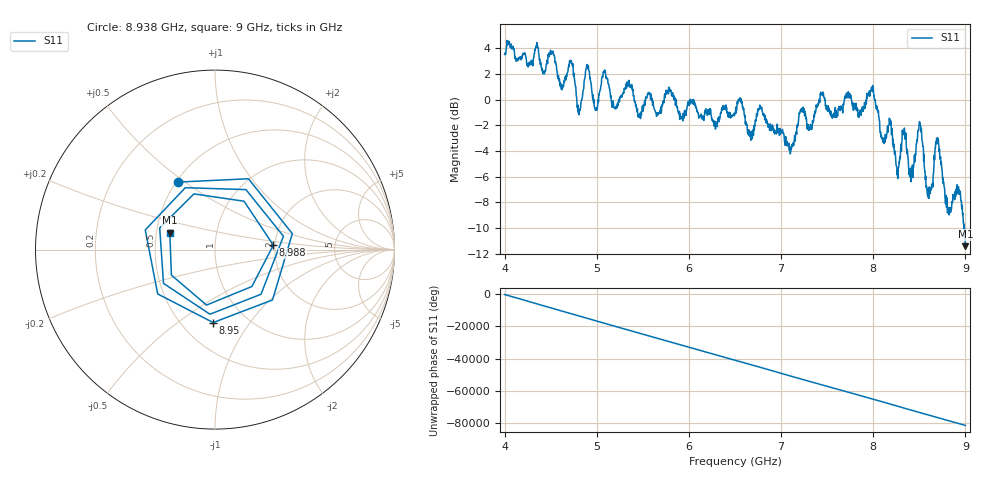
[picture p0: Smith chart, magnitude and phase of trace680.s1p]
! Created with skrf 1.8.0 (http://scikit-rf.org).
# Hz S RI R 50.0
!freq ReS11 ImS11
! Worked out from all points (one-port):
!   1601 points, 4 GHz to 9 GHz, reference 50 ohm
!   lowest |S11| = -11.4 dB at 9 GHz (marker M1), VSWR 1.74, Z = 29.4 + j6.01 ohm
!   |S11| at or under -10 dB: 8.983676 GHz to 8.984651 GHz (974.3 kHz wide, 0.0108 % of centre); 8.988791 GHz to end of sweep
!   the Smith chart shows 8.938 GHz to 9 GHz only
!   S11 on the Smith chart (normalised r, x): 8.938 GHz: 0.51, +0.47; 8.95 GHz: 0.70, -0.69; 8.988 GHz: 1.96, +0.11; 9 GHz: 0.59, +0.12
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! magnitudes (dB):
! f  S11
! 4 GHz  3.5
! 4.519 GHz  3.6
! 4.625 GHz  0.8
! 4.716 GHz  3.1
! 4.809 GHz  -1.0
! 4.897 GHz  2.6
! 4.988 GHz  -0.8
! 5.078 GHz  2.2
! 5.25 GHz  0.2
! 5.875 GHz  -0.6
! 6.5 GHz  -1.1
! 7.125 GHz  -3.6
! 7.222 GHz  -0.8
! 7.309 GHz  -2.2
! 7.75 GHz  0.3
! 7.984 GHz  0.8
! 8.256 GHz  -5.3
! 8.334 GHz  -2.5
! 8.375 GHz  -4.4
! 8.419 GHz  -5.7
! 8.506 GHz  -2.0
! 8.597 GHz  -7.2
! 8.694 GHz  -3.4
! 8.819 GHz  -8.8
! 8.938 GHz  -7.3
! 8.95 GHz  -7.8
! 8.988 GHz  -9.7
! 9 GHz  -11.4
